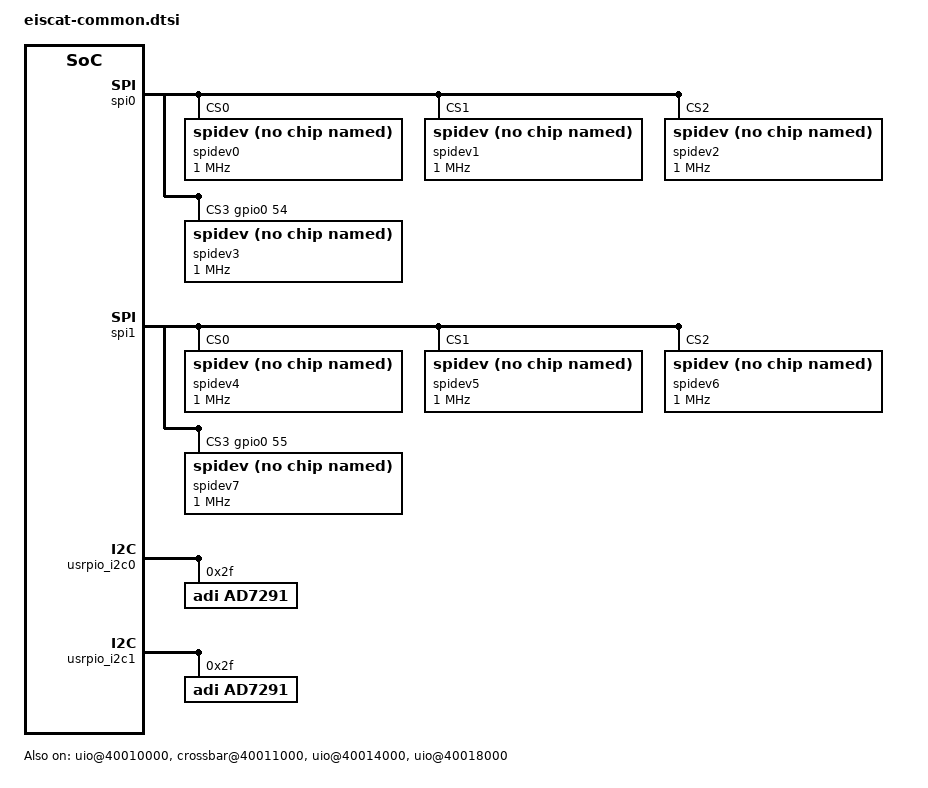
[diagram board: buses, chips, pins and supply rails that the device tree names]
// SPDX-License-Identifier: GPL-2.0 OR X11
/*
 * Copyright (c) 2018 National Instruments Corp
 */

&fpga_full {
	uio@40010000 {
		compatible = "usrp-uio";
		reg = <0x40010000 0x1000>;
		reg-names = "mboard-regs";
		status = "okay";
	};

	crossbar@40011000 {
		compatible = "ni,platform-crossbar-rp";
		reg = <0x40011000 0x1000>;
		status = "okay";
		rfnoc,ports = <0x10>;
		clocks = <&clkc 15>;
		clock-names = "bus_clk";
	};

	uio@40014000 {
		compatible = "usrp-uio";
		reg = <0x40014000 0x4000>;
		reg-names = "dboard-regs-0";
		status = "okay";
	};

	uio@40018000 {
		compatible = "usrp-uio";
		reg = <0x40018000 0x4000>;
		reg-names = "dboard-regs-1";
		status = "okay";
	};
};

&spi0 {
	status = "okay";

	cs-gpios = <0>, <0>, <0>, <&gpio0 54 0>;

	spidev0: spidev@0 {
		compatible = "rohm,dh2228fv";
		reg = <0>;
		status = "okay";
		spi-max-frequency = <1000000>;
	};

	spidev1: spidev@1 {
		compatible = "rohm,dh2228fv";
		reg = <1>;
		status = "okay";
		spi-max-frequency = <1000000>;
	};

	spidev2: spidev@2 {
		compatible = "rohm,dh2228fv";
		reg = <2>;
		status = "okay";
		spi-max-frequency = <1000000>;
	};

	spidev3: spidev@3 {
		compatible = "rohm,dh2228fv";
		reg = <3>;
		status = "okay";
		spi-max-frequency = <1000000>;
	};
};

&spi1 {
	status = "okay";

	cs-gpios = <0>, <0>, <0>, <&gpio0 55 0>;

	spidev4: spidev@0 {
		compatible = "rohm,dh2228fv";
		reg = <0>;
		status = "okay";
		spi-max-frequency = <1000000>;
	};

	spidev5: spidev@1 {
		compatible = "rohm,dh2228fv";
		reg = <1>;
		status = "okay";
		spi-max-frequency = <1000000>;
	};

	spidev6: spidev@2 {
		compatible = "rohm,dh2228fv";
		reg = <2>;
		status = "okay";
		spi-max-frequency = <1000000>;
	};

	spidev7: spidev@3 {
		compatible = "rohm,dh2228fv";
		reg = <3>;
		status = "okay";
		spi-max-frequency = <1000000>;
	};
};

&usrpio_i2c0 {
	ad7291@2f {
		compatible = "adi,ad7291";
		reg = <0x2f>;
	};
};

&usrpio_i2c1 {
	ad7291@2f {
		compatible = "adi,ad7291";
		reg = <0x2f>;
	};
};
